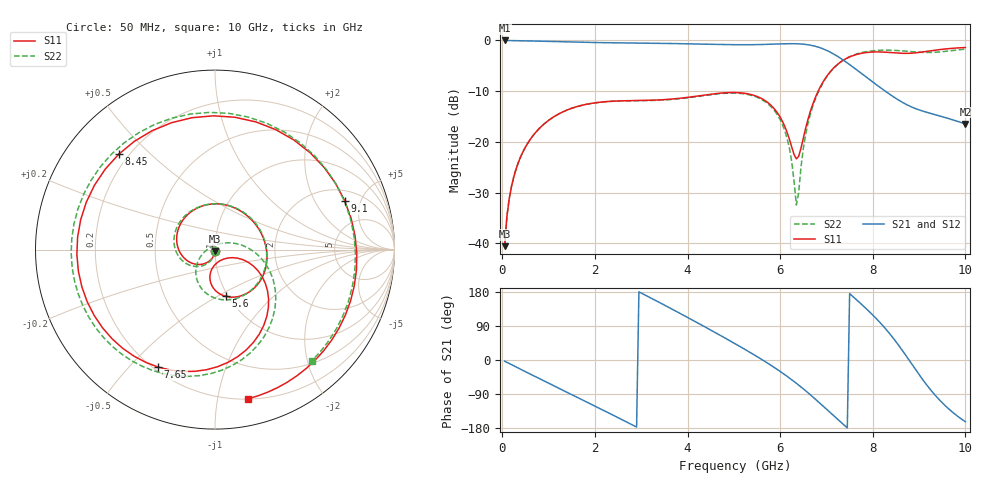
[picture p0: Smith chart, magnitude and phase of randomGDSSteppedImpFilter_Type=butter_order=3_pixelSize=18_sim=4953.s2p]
! freq	dB(S11)	phase(S11)	dB(S12)	phase(S12)
!  dB(S21)	phase(S21)	dB(S22)	phase(S22)
!S-par simulation data
#  GHz  S  DB  R 50
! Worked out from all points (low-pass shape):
!   200 points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, 50 MHz to 10 GHz, reference 50 ohm
!   highest |S21| = -0.01 dB at 50 MHz (marker M1); lowest = -16.5 dB at 10 GHz (marker M2)
!   |S21| within 3 dB of the highest: start of sweep to 7.215 GHz
!   lowest |S11| = -40.6 dB at 50 MHz (marker M3), VSWR 1.02, Z = 50 - j0.935 ohm
!   |S11| at or under -10 dB: start of sweep to 6.822 GHz
!   |S22| runs from -40.6 to -1.7 dB; largest |S21 - S12| = 0
!   S11 on the Smith chart (normalised r, x): 50 MHz: 1.00, -0.02; 5.6 GHz: 0.98, -0.55; 7.65 GHz: 0.22, -0.60; 8.45 GHz: 0.16, +0.40; 9.1 GHz: 2.67, +3.60; 10 GHz: 0.20, -1.23
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0.05  -40.57 -91.5  -0.01 -3.1  -0.01 -3.1  -40.56 -91.2
0.2  -28.74 -102.9  -0.03 -12.4  -0.03 -12.4  -28.73 -101.1
0.5  -21.04 -123.4  -0.08 -30.8  -0.08 -30.8  -21.02 -118.8
1.15  -14.85 -166.3  -0.23 -70.3  -0.23 -70.3  -14.84 -155.6
1.75  -12.73 154.7  -0.37 -106.5  -0.37 -106.5  -12.73 170.8
2.65  -11.89 97.0  -0.49 -161.4  -0.49 -161.4  -11.92 118.9
3.4  -11.73 51.4  -0.57 151.4  -0.57 151.4  -11.79 70.5
4.25  -10.92 3.0  -0.71 95.8  -0.71 95.8  -11.00 8.7
5.05  -10.28 -43.4  -0.84 41.3  -0.84 41.3  -10.39 -51.8
5.6  -11.47 -77.1  -0.81 1.6  -0.81 1.6  -11.65 -94.8
6.1  -16.97 -101.1  -0.66 -38.7  -0.66 -38.7  -17.80 -141.4
6.35  -23.35 -65.7  -0.66 -61.4  -0.66 -61.4  -32.45 132.6
6.7  -12.69 -23.1  -1.02 -96.9  -1.02 -96.9  -13.10 -3.7
7.15  -5.48 -62.4  -2.65 -146.3  -2.65 -146.3  -5.53 -55.3
7.65  -2.77 -116.0  -5.78 158.8  -5.78 158.8  -2.67 -107.0
8.05  -2.27 -164.3  -8.54 112.5  -8.54 112.5  -2.00 -146.7
8.35  -2.37 151.9  -10.52 71.7  -10.52 71.7  -1.92 -178.7
8.45  -2.44 135.4  -11.14 56.4  -11.14 56.4  -1.95 169.7
8.75  -2.55 81.4  -12.75 5.7  -12.75 5.7  -2.15 130.4
9.1  -2.25 20.6  -14.00 -55.3  -14.00 -55.3  -2.37 75.9
9.5  -1.75 -32.3  -15.03 -112.9  -15.03 -112.9  -2.22 12.2
10  -1.40 -77.5  -16.46 -162.9  -16.46 -162.9  -1.70 -49.0
